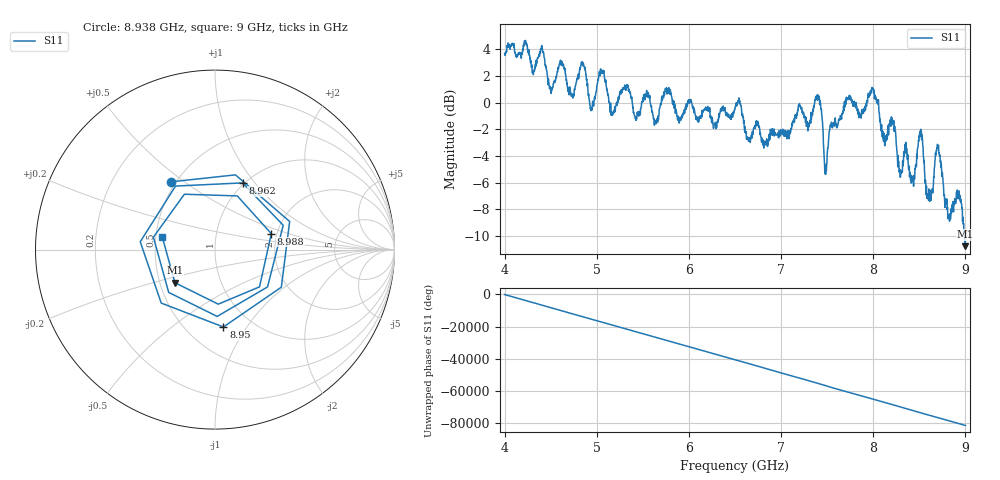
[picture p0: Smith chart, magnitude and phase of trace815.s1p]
! Created with skrf 1.8.0 (http://scikit-rf.org).
# Hz S RI R 50.0
!freq ReS11 ImS11
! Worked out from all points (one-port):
!   1601 points, 4 GHz to 9 GHz, reference 50 ohm
!   lowest |S11| = -10.8 dB at 8.997 GHz (marker M1), VSWR 1.82, Z = 29.9 - j12.1 ohm
!   |S11| at or under -10 dB: 8.992123 GHz to end of sweep
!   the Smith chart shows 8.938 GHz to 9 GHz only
!   S11 on the Smith chart (normalised r, x): 8.938 GHz: 0.47, +0.45; 8.95 GHz: 0.74, -0.79; 8.962 GHz: 0.98, +0.87; 8.988 GHz: 1.87, +0.37; 9 GHz: 0.54, +0.08
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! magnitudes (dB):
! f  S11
! 4 GHz  3.7
! 4.406 GHz  4.0
! 4.506 GHz  0.7
! 4.625 GHz  3.0
! 4.853 GHz  3.0
! 4.944 GHz  -0.5
! 5.053 GHz  2.2
! 5.25 GHz  0.8
! 5.875 GHz  -1.1
! 6.5 GHz  -0.5
! 6.828 GHz  -2.9
! 7.125 GHz  -1.5
! 7.4 GHz  0.5
! 7.488 GHz  -4.6
! 7.75 GHz  0.5
! 7.994 GHz  1.1
! 8.375 GHz  -3.9
! 8.431 GHz  -5.5
! 8.516 GHz  -2.0
! 8.597 GHz  -6.9
! 8.7 GHz  -3.4
! 8.819 GHz  -8.4
! 8.938 GHz  -6.9
! 8.95 GHz  -7.3
! 8.962 GHz  -7.9
! 8.988 GHz  -9.7
! 8.997 GHz  -10.8
! 9 GHz  -10.4
